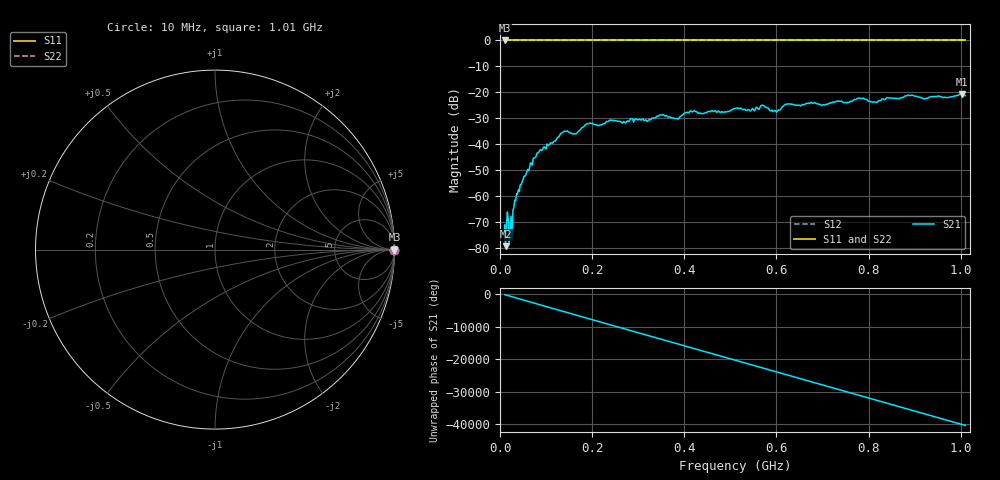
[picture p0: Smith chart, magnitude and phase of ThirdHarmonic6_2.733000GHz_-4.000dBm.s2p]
! 8/17/2025 6:43:56 AM
! C:\ANRITSUVNA\TEMP\TEMP.S2P
! CHANNEL.1
! TR.MEASUREMENT
! RAW.DATA
! RF.CORRECTION.OFF
! AVERAGING.OFF
! IF.BANDWIDTH: 5KHZ
! SWEEPTYPE:  FREQ.SWEEP(Linear)
! Reference Plane Port Info
! PORT:  PORT1  PORT2
! DISTANCE:  0  m  0  m
! TIME:  0  s  0  s
! PHASE.OFFSET:  0  deg.  0  deg.
! LOSS:  0  dB  0  dB
! REF.LOSS:  0  dB  0  dB
! REF.FREQ:  0  Hz  0  Hz
! Power Info
! POWER:  -20  dBm  -20  dBm
! EFF.POWER:  -20  dBm  -20  dBm
! SOURCE.ATTEN:  0  dB  0  dB
! TEST.ATTEN:  0  dB  0  dB
# GHZ S RI R 50.0
! FREQ.GHZ  S11RE  S11IM  S21RE  S21IM  S12RE  S12IM  S22RE  S22IM
!; PortSelection: Port_12
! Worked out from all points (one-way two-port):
!   501 points, 10 MHz to 1.01 GHz, reference 50 ohm
!   highest |S21| = -20.62 dB at 1.002 GHz (marker M1); lowest = -79.3 dB at 12 MHz (marker M2)
!   lowest |S11| = 0.0 dB at 10 MHz (marker M3)
!   |S11| at or under -10 dB: nowhere
!   |S22| runs from 0.0 to 0.0 dB; largest |S21 - S12| = 1.1
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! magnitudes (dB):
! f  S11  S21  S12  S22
! 10 MHz  0.0  -71.1  0.0  0.0
! 12 MHz  0.0  -79.3  0.0  0.0
! 24 MHz  0.0  -67.9  0.0  0.0
! 32 MHz  0.0  -61.5  0.0  0.0
! 36 MHz  0.0  -59.1  0.0  0.0
! 56 MHz  0.0  -51.8  0.0  0.0
! 84 MHz  0.0  -43.3  0.0  0.0
! 136 MHz  0.0  -35.5  0.0  0.0
! 162 MHz  0.0  -36.0  0.0  0.0
! 178 MHz  0.0  -33.6  0.0  0.0
! 192 MHz  0.0  -32.0  0.0  0.0
! 344 MHz  0.0  -29.2  0.0  0.0
! 384 MHz  0.0  -30.1  0.0  0.0
! 416 MHz  0.0  -27.5  0.0  0.0
! 510 MHz  0.0  -26.3  0.0  0.0
! 570 MHz  0.0  -25.0  0.0  0.0
! 596 MHz  0.0  -27.0  0.0  0.0
! 622 MHz  0.0  -24.6  0.0  0.0
! 678 MHz  0.0  -24.2  0.0  0.0
! 844 MHz  0.0  -22.2  0.0  0.0
! 1.002 GHz  0.0  -20.6  0.0  0.0
! 1.01 GHz  0.0  -21.2  0.0  0.0
